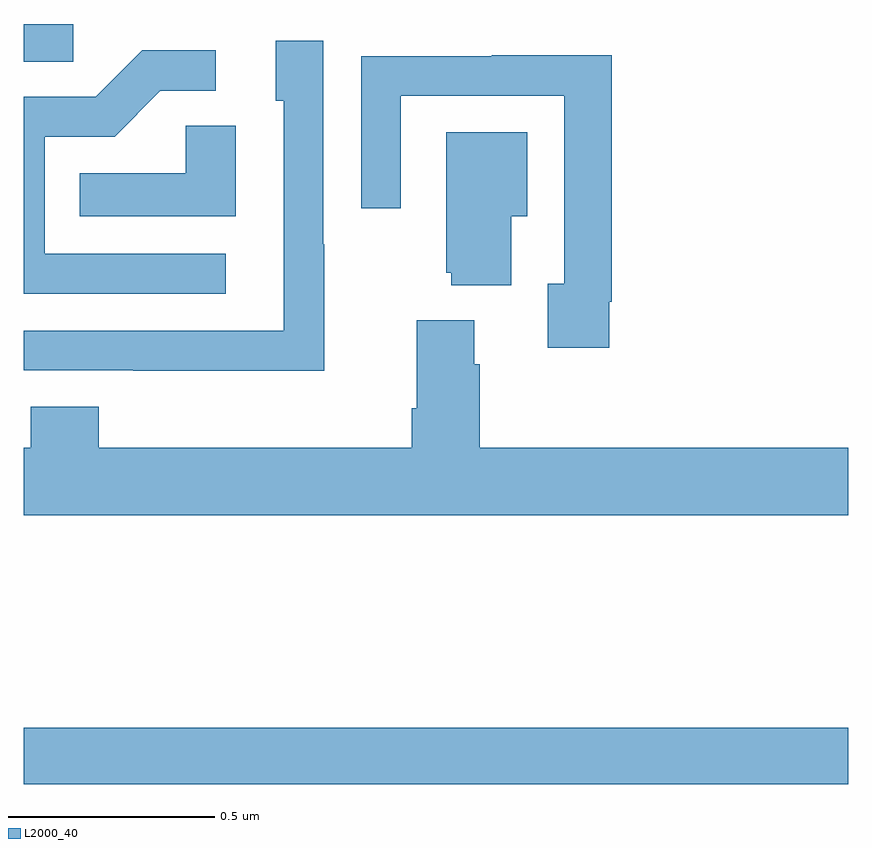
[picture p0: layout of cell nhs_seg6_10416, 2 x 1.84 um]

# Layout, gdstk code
import gdstk
lib = gdstk.Library(unit=1e-6, precision=1e-09)
def R(c, l, rs):  # rectangles x0, y0, x1, y1
    for r in rs: c.add(gdstk.rectangle(r[:2], r[2:], *l))
def P(c, l, *ps):  # polygons
    for p in ps: c.add(gdstk.Polygon(p, *l))
L2000_40 = (2000, 40)

nhs_seg6_10416 = lib.new_cell('nhs_seg6_10416')
R(nhs_seg6_10416, L2000_40, [(246,974.656,248,974.792), (246,976.408,246.12,976.5)])
P(nhs_seg6_10416, L2000_40, [(246.729,975.965),(246.726,975.965),(246.726,976.459),(246.611,976.459),(246.611,976.314),(246.63,976.314),(246.63,975.756),(246,975.756),(246,975.66),(246.265,975.66),(246.265,975.659),(246.729,975.659)],
  [(246.49,975.942),(246.051,975.942),(246.051,976.227),(246.22,976.227),(246.331,976.338),(246.466,976.338),(246.466,976.436),(246.287,976.436),(246.174,976.323),(246,976.323),(246,975.846),(246.49,975.846)],
  [(247.42,975.826),(247.427,975.826),(247.427,976.424),(247.135,976.424),(247.135,976.422),(246.819,976.422),(246.819,976.053),(246.915,976.053),(246.915,976.326),(247.311,976.326),(247.311,975.87),(247.271,975.87),(247.271,975.714),(247.42,975.714)],
  [(246.514,976.253),(246.393,976.253),(246.393,976.138),(246.136,976.138),(246.136,976.034),(246.514,976.034)],
  [(247.183,976.034),(247.222,976.034),(247.222,976.237),(247.025,976.237),(247.025,975.897),(247.037,975.897),(247.037,975.866),(247.183,975.866)],
  [(248,975.472),(247.106,975.472),(247.106,975.674),(247.093,975.674),(247.093,975.781),(246.953,975.781),(246.953,975.568),(246.941,975.568),(246.941,975.472),(246.182,975.472),(246.182,975.571),(246.017,975.571),(246.017,975.472),(246,975.472),(246,975.308),(248,975.308)])

lib.write_gds('nhs_seg6_10416.gds')
